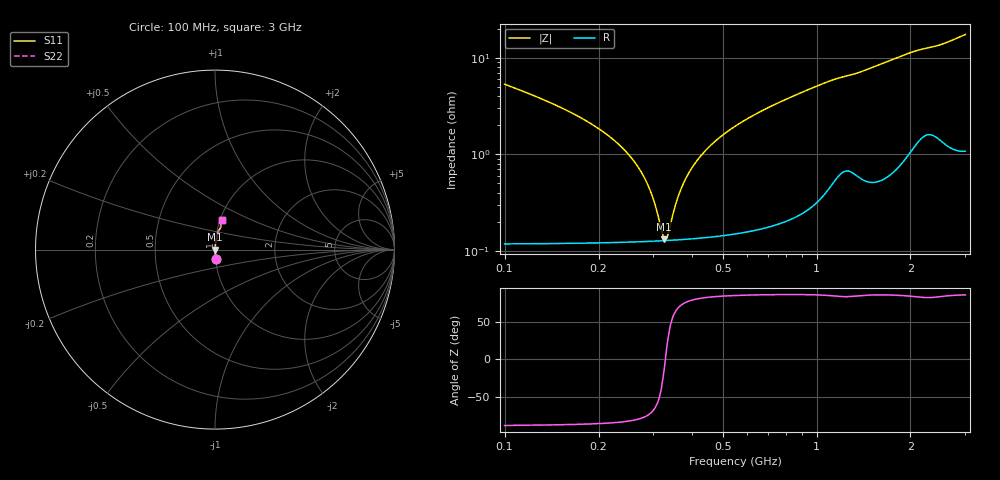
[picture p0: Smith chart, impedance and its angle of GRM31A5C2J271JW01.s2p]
!Murata Part Number: GRM31A5C2J271JW01
!These Parameters are Measured in Series Mode Connection
!Data Generated on Mar 30, 2021
!  o--ll--o
!Port1  Port2
!  o------o
!Operation Temp=25[degC], DC Bias Voltage=0[V]
!Freq. Start=100[MHz] Stop=3[GHz] 401[Steps]
# Hz S RI R 50
!Freq.(Hz) S11(Real) S11(Imag) S21(Real) S21(Imag) S12(Real) S12(Imag) S22(Real) S22(Imag)
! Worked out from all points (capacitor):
!   401 points, 100 MHz to 3 GHz, reference 50 ohm
!   read as one part in series: C = 270 pF near 114.5 MHz
!   lowest |Z| = 131 mohm at 324.8 MHz (marker M1)
!   series resonance near 327.6 MHz, so ESL is about 870 pH
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1e8  0.00402 -0.0532  0.996 0.0532  0.996 0.0532  0.00402 -0.0532
2.015e8  0.00154 -0.0182  0.9985 0.0182  0.9985 0.0182  0.00154 -0.0182
2.5225e8  0.00132 -0.00951  0.9987 0.00951  0.9987 0.00951  0.00132 -0.00951
2.8125e8  0.00128 -0.00551  0.9987 0.00551  0.9987 0.00551  0.00128 -0.00551
2.9575e8  0.00127 -0.00369  0.9987 0.00369  0.9987 0.00369  0.00127 -0.00369
3.175e8  0.00127 -0.00113  0.9987 0.00113  0.9987 0.00113  0.00127 -0.00113
3.2475e8  0.00127 -0.000313  0.9987 0.000313  0.9987 0.000313  0.00127 -0.000313
3.32e8  0.00128 0.000483  0.9987 -0.000483  0.9987 -0.000483  0.00128 0.000483
3.3925e8  0.00129 0.00126  0.9987 -0.00126  0.9987 -0.00126  0.00129 0.00126
3.61e8  0.00131 0.00351  0.9987 -0.00351  0.9987 -0.00351  0.00131 0.00351
3.755e8  0.00134 0.00494  0.9987 -0.00494  0.9987 -0.00494  0.00134 0.00494
3.9725e8  0.00138 0.007  0.9986 -0.007  0.9986 -0.007  0.00138 0.007
4.19e8  0.00143 0.00897  0.9986 -0.00897  0.9986 -0.00897  0.00143 0.00897
4.48e8  0.00151 0.0115  0.9985 -0.0115  0.9985 -0.0115  0.00151 0.0115
4.8425e8  0.00162 0.0145  0.9984 -0.0145  0.9984 -0.0145  0.00162 0.0145
5.8575e8  0.00204 0.0223  0.998 -0.0223  0.998 -0.0223  0.00204 0.0223
7.815e8  0.00326 0.0359  0.9967 -0.0359  0.9967 -0.0359  0.00326 0.0359
1.0715e9  0.00705 0.055  0.993 -0.055  0.993 -0.055  0.00705 0.055
1.55e9  0.0118 0.0811  0.9882 -0.0811  0.9882 -0.0811  0.0118 0.0811
2.03575e9  0.024 0.1113  0.976 -0.1113  0.976 -0.1113  0.024 0.1113
2.5215e9  0.0314 0.1321  0.9686 -0.1321  0.9686 -0.1321  0.0314 0.1321
3e9  0.0395 0.1664  0.9605 -0.1664  0.9605 -0.1664  0.0395 0.1664
